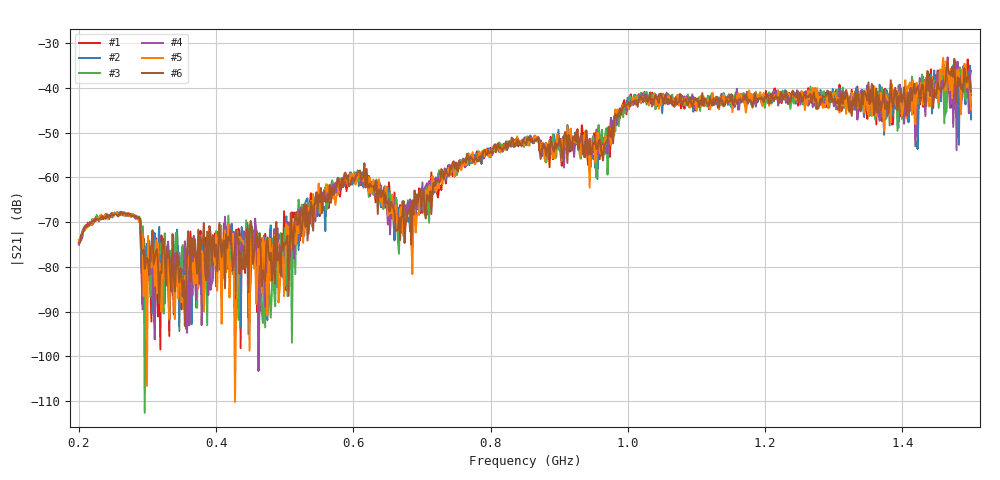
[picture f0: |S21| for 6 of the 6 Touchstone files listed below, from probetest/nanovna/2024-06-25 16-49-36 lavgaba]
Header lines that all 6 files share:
! NanoVNA-App
! Start: 200MHz Stop: 1.5GHz Points: 801
! S-Parameter data: F S11 S21 S12 S22
# Hz S RI R 50
!  Frequency  S11_Real  S11_Imag  S21_Real  S21_Imag  S12_Real  S12_Imag  S22_Real  S22_Imag
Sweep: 200 MHz to 1.5 GHz
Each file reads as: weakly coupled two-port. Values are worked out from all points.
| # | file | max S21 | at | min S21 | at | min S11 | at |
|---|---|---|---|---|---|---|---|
| 1 | 3.s2p | -33.61 dB | 1.495 GHz | -98.5 dB | 318.6 MHz | -11.6 dB | 1.152 GHz |
| 2 | 5.s2p | -34.96 dB | 1.479 GHz | -95.1 dB | 447 MHz | -11.6 dB | 1.154 GHz |
| 3 | 6.s2p | -34.89 dB | 1.474 GHz | -112.7 dB | 295.9 MHz | -11.6 dB | 1.155 GHz |
| 4 | 9.s2p | -33.12 dB | 1.466 GHz | -103.3 dB | 461.6 MHz | -11.6 dB | 1.154 GHz |
| 5 | 10.s2p | -33.24 dB | 1.459 GHz | -110.2 dB | 427.5 MHz | -11.6 dB | 1.152 GHz |
| 6 | 14.s2p | -33.48 dB | 1.476 GHz | -93.2 dB | 354.4 MHz | -11.6 dB | 1.152 GHz |
